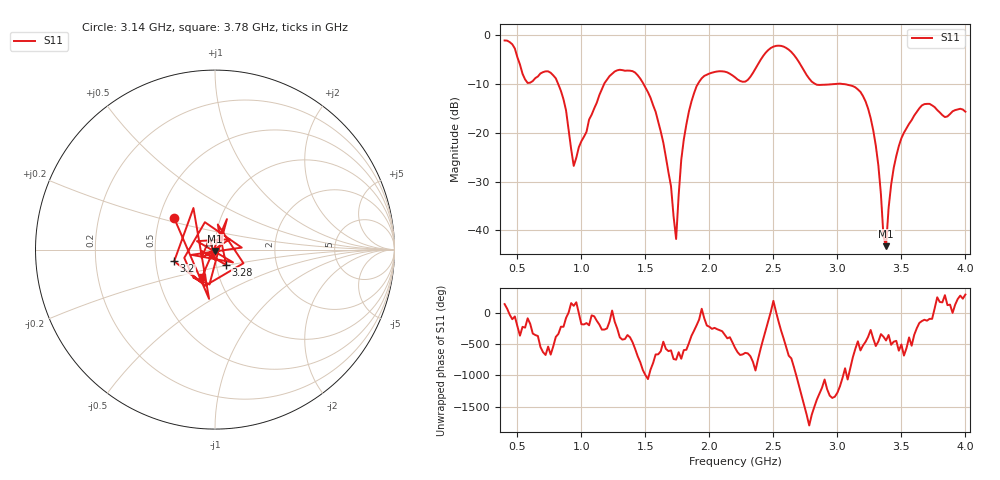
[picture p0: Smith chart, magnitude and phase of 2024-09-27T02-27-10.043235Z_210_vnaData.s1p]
!Created with skrf (http://scikit-rf.org).
# Hz S RI R 50.0
!freq ReS11 ImS11
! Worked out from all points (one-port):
!   181 points, 400 MHz to 4 GHz, reference 50 ohm
!   lowest |S11| = -43.2 dB at 3.38 GHz (marker M1), VSWR 1.01, Z = 50.1 - j0.688 ohm
!   |S11| at or under -10 dB: 817.7 MHz to 1.179 GHz (360.8 MHz wide, 36.2 % of centre); 1.484 GHz to 1.911 GHz (427.5 MHz wide, 25.2 % of centre); 3.025 GHz to end of sweep (the widest 3 of 4)
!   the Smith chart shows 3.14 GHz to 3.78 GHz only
!   S11 on the Smith chart (normalised r, x): 3.14 GHz: 0.59, +0.23; 3.2 GHz: 0.62, -0.09; 3.28 GHz: 1.12, -0.19; 3.78 GHz: 0.83, -0.26
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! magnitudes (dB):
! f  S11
! 400 MHz  -1.2
! 580 MHz  -9.8
! 740 MHz  -7.5
! 860 MHz  -13.2
! 940 MHz  -26.8
! 1.18 GHz  -9.9
! 1.3 GHz  -7.2
! 1.44 GHz  -8.3
! 1.58 GHz  -15.7
! 1.7 GHz  -30.9
! 1.74 GHz  -41.7
! 1.76 GHz  -32.7
! 1.8 GHz  -21.4
! 1.9 GHz  -10.5
! 2.2 GHz  -8.7
! 2.5 GHz  -2.4
! 2.66 GHz  -4.1
! 2.82 GHz  -10.0
! 3.1 GHz  -10.3
! 3.14 GHz  -10.7
! 3.2 GHz  -12.5
! 3.28 GHz  -19.5
! 3.36 GHz  -41.2
! 3.38 GHz  -43.2
! 3.44 GHz  -27.2
! 3.56 GHz  -18.2
! 3.78 GHz  -15.4
! 4 GHz  -15.7
